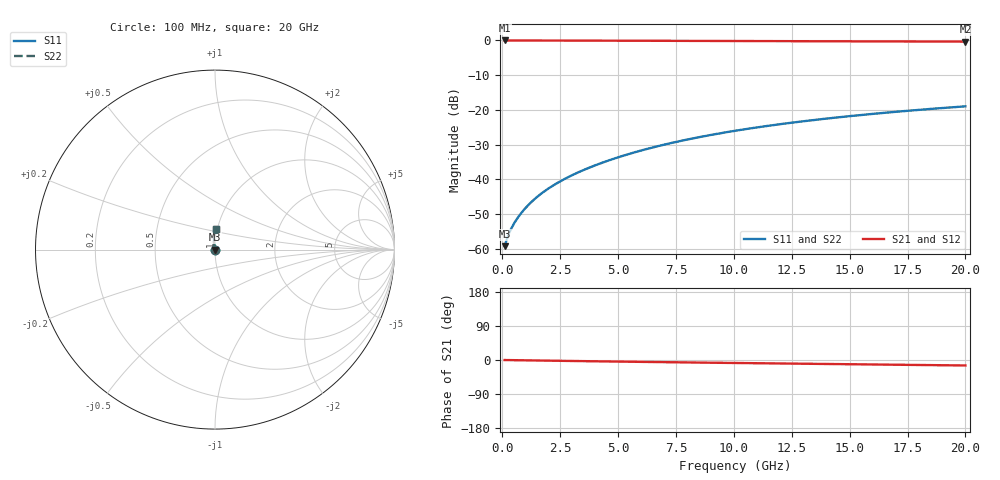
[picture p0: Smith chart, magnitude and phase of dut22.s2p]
! Touchstone file exported from HFSS 2024.1.0
!  File:  C:/UserFiles/LocalFiles/RDL_TSV_Batchsim/temp_RDL_top_22_1778680258.aedt
!  Generated:  09:53:10 PM May 13, 2026
!  Design:  RDL_top
!  Project:  temp_RDL_top_22_1778680258
!  Setup:  Setup1
!  Solution:  Sweep
! Variables:
!  dtsv = 10.80580581um
!  hbump = 3um
!  htsv = 76.22um
!  ldown = 100um
!  lrdl = 218.24um
!  p = 40
!  p1 = 43.99um
!  rhole = 1um
!  t = 450um
!  tdown = 3.915915916um
!  trdl = 3.66um
!  wdown = 15.38538539um
!  wrdl = 29.5um
# GHz S MA R 50.000000
! Terminal data exported
! Port[1] = Box2_T1
! Port[2] = Box2_T2
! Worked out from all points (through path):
!   200 points, 100 MHz to 20 GHz, reference 50 ohm
!   highest |S21| = -0.01 dB at 100 MHz (marker M1); lowest = -0.3 dB at 20 GHz (marker M2)
!   group delay of S21, straight-line fit = 1.97 ps
!   lowest |S11| = -59.3 dB at 100 MHz (marker M3), VSWR 1.00, Z = 50.1 + j0.0477 ohm
!   |S11| at or under -10 dB: start of sweep to end of sweep
!   |S22| runs from -59.3 to -19.0 dB; largest |S21 - S12| = 2.1e-15
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0.1  0.001084 26.0  0.999 -0.1  0.999 -0.1  0.001084 26.0
! Gamma 0 0 0 0
! Port Impedance 50 0 50 0
0.2  0.001381 40.4  0.9989 -0.2  0.9989 -0.2  0.001381 40.4
0.3  0.001689 48.5  0.9988 -0.3  0.9988 -0.3  0.001689 48.5
0.4  0.001986 54.2  0.9987 -0.4  0.9987 -0.4  0.001986 54.2
0.5  0.00228 58.9  0.9987 -0.5  0.9987 -0.5  0.00228 58.9
0.8  0.003195 68.8  0.9985 -0.7  0.9985 -0.7  0.003195 68.8
1  0.003839 73.4  0.9983 -0.9  0.9983 -0.9  0.003839 73.4
1.2  0.004507 77.0  0.9981 -1.1  0.9981 -1.1  0.004507 77.0
1.7  0.006265 83.3  0.9976 -1.5  0.9976 -1.5  0.006265 83.3
2.2  0.008136 87.5  0.997 -1.9  0.997 -1.9  0.008136 87.5
2.8  0.01053 91.0  0.996 -2.4  0.996 -2.4  0.01053 91.0
3.5  0.01352 93.9  0.9946 -3.0  0.9946 -3.0  0.01352 93.9
4.2  0.01674 95.8  0.9931 -3.6  0.9931 -3.6  0.01674 95.8
5  0.02068 97.3  0.9913 -4.2  0.9913 -4.2  0.02068 97.3
5.9  0.02541 98.1  0.9891 -4.9  0.9891 -4.9  0.0254 98.1
6.8  0.0304 98.4  0.9868 -5.6  0.9868 -5.6  0.0304 98.4
8.4  0.03977 98.0  0.983 -6.7  0.983 -6.7  0.03977 98.0
10.1  0.05018 96.8  0.9791 -7.9  0.9791 -7.9  0.05018 96.8
11.7  0.06021 95.3  0.9758 -9.0  0.9758 -9.0  0.0602 95.3
13.4  0.07096 93.5  0.9726 -10.1  0.9726 -10.1  0.07095 93.5
16.7  0.0918 90.0  0.967 -12.3  0.967 -12.3  0.09179 90.0
20  0.1123 86.6  0.9619 -14.4  0.9619 -14.4  0.1123 86.6
